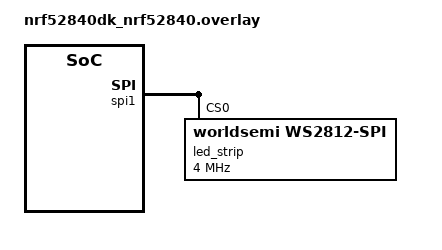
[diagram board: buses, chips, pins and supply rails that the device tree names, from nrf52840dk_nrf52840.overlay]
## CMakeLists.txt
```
# SPDX-License-Identifier: Apache-2.0

cmake_minimum_required(VERSION 3.20.0)
find_package(Zephyr REQUIRED HINTS $ENV{ZEPHYR_BASE})
project(sandbox)

target_sources(app PRIVATE 
    src/main.c 
    src/ui/buttons.c 
    src/ui/keypad.c 
    src/ui/led.c 
    src/ui/pixels.c 
    src/core/timer.c
    src/core/util.c)
```

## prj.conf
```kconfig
CONFIG_PRINTK=y
CONFIG_GPIO=y
CONFIG_LOG=y
# Enable the serial driver in asynchronous mode
CONFIG_SERIAL=y
CONFIG_UART_ASYNC_API=y
# Add configurations to enable timeslicing
CONFIG_TIMESLICING=y
CONFIG_TIMESLICE_SIZE=10
CONFIG_TIMESLICE_PRIORITY=0
CONFIG_THREAD_NAME=y
CONFIG_LOG=y
CONFIG_LED_STRIP=y
CONFIG_LED_STRIP_LOG_LEVEL_DBG=y
CONFIG_WS2812_STRIP=y
CONFIG_SPI=y
CONFIG_FPU=y
CONFIG_MAIN_STACK_SIZE=2048
CONFIG_NEWLIB_LIBC_FLOAT_PRINTF=y
CONFIG_NEWLIB_LIBC=y
```

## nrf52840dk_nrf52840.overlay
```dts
#include <zephyr/dt-bindings/led/led.h>

// Original value 4000000
#define SPI_FREQ   4000000
#define ZERO_FRAME 0x40
#define ONE_FRAME  0x70

&spi1 {// MOSI on D11 / P0.23. MJ: Per mapping it is actually D10 at P1.12
    compatible = "nordic,nrf-spim";
    led_strip: ws2812@0 {
        compatible = "worldsemi,ws2812-spi";

        // SPI
        reg = <0>; // ignored, but necessary for SPI bindings
        spi-max-frequency = <SPI_FREQ>;

        // WS2812
        chain-length = <8>; // arbitrary; change at will
        color-mapping = <LED_COLOR_ID_GREEN
        LED_COLOR_ID_RED
        LED_COLOR_ID_BLUE>;
        spi-one-frame = <ONE_FRAME>;
        spi-zero-frame = <ZERO_FRAME>;
    };
};

/ {
    aliases {
        led-strip = &led_strip;
    };
};
```

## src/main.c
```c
#include "ui/buttons.h"
#include "ui/keypad.h"
#include "ui/led.h"

// just for fun - using message queue to pass button presses 1-3
// from UART to led 1-3
// led 0 is used by a heartbeat thread in led

#define QUEUE_SIZE 16
#define DATA_LEN 1
#define DATA_ALIGN 1

extern void run_timer(void);
// our message queue
K_MSGQ_DEFINE(queue, DATA_LEN, QUEUE_SIZE, DATA_ALIGN);

keypad keyp;

int work();
int main();
int init();

// main thread
int main(void) {
    printk("main 1.4.19a starts\n");
    if (init()) {
        printk("init failed\n");
        return 1;
    }
    run_timer();
    //  main loop
    while (1) {
        k_yield();
        work();
    }
}

int init() {
    // if (buttons_init(NULL)) {
    //     printk("keypad_init failed");
    //     return 1;
    // }

    if (keypad_init(&keyp)) {
        printk("keypad_init failed");
        return 1;
    }
    if (led_init()) {
        printk("led_init failed");
        return 1;
    }
    return 0;
}

int work() {
    uint8_t idx;
    //  Read all keypad codes from the queue
    while (k_msgq_num_used_get(&queue)) {
        k_msgq_get(&queue, &idx, K_NO_WAIT);
        idx = idx - 48;
        // we handle only 1,2,3
        if (idx > 0 && idx < 4) {
            led_toggle(idx);
        }
        k_yield();
        k_msleep(10);
    }
    k_msleep(20);
    return 0;
}
```

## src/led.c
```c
#include "led.h"

#include <zephyr/device.h>
#include <zephyr/devicetree.h>
#include <zephyr/drivers/gpio.h>
#include <zephyr/kernel.h>
#include <zephyr/sys/printk.h>

#define THREAD_STACK_SIZE 1024

struct leds {
    struct gpio_dt_spec led;
    int value;
} _leds[4] = {
    {GPIO_DT_SPEC_GET(DT_ALIAS(led0), gpios), 0},
    {GPIO_DT_SPEC_GET(DT_ALIAS(led1), gpios), 0},
    {GPIO_DT_SPEC_GET(DT_ALIAS(led2), gpios), 0},
    {GPIO_DT_SPEC_GET(DT_ALIAS(led3), gpios), 0}};

void heartbeat_thread(void *d0, void *d1, void *d2) {
    while (1) {
        k_yield();
        led_toggle(0);
        k_msleep(1000);
        // printk("heartbeat\n");
    }
}

// initialize 4 leds 0-3
int led_init() {
    for (int i = 0; i < 4; i++) {
        if (!device_is_ready((_leds[i].led.port))) {
            return 1;
        }
        if (gpio_pin_configure_dt(&_leds[i].led, GPIO_OUTPUT_ACTIVE) < 0) {
            return 1;
        }
        led_toggle(i);
    }
    return 0;
}

int led_toggle(int idx) {
    if (idx < 0 || idx > 3) {
        return 1;
    }
    return gpio_pin_toggle_dt(&_leds[idx].led);
}

K_THREAD_DEFINE(heartbeat_thread_tid, THREAD_STACK_SIZE,
                heartbeat_thread, NULL, NULL, NULL,
                K_LOWEST_APPLICATION_THREAD_PRIO, 0, 0);
```

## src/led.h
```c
#ifndef LEDS_H_
#define LEDS_H_

int led_init();

int led_toggle(int idx);

#endif
```

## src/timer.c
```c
#include <zephyr/kernel.h>
#include <zephyr/sys/printk.h>

#define STACKSIZE 1024

/* scheduling priority used by each thread */
#define PRIORITY 7

/* delay between greetings (in ms) */
#define SLEEPTIME 5000

K_THREAD_STACK_DEFINE(threadA_stack_area, STACKSIZE);
static struct k_thread threadA_data;

/* Defining a timer */
struct k_timer my_timer;
extern void my_expiry_function(struct k_timer *timer_id);

/* threadA is a static thread that is spawned automatically */

uint64_t start_time;

void threadA(void *dummy1, void *dummy2, void *dummy3) {
    ARG_UNUSED(dummy1);
    ARG_UNUSED(dummy2);
    ARG_UNUSED(dummy3);

    printk("thread_a: thread started \n");

    while (1) {
        // printk("thread_a: thread loop \n");
        k_msleep(SLEEPTIME);
    }
}

void my_expiry_function(struct k_timer *timer_id) {
    uint64_t start = start_time;
    int64_t delta = k_uptime_delta(&start);
    //printk(">>>>> timer expired, elapsed time since start: %lld\n", delta);
}

void run_timer(void) {
    start_time = k_uptime_get();
    printk("run_timer start %lld\n", start_time);
    k_thread_create(&threadA_data, threadA_stack_area,
                    K_THREAD_STACK_SIZEOF(threadA_stack_area),
                    threadA, NULL, NULL, NULL,
                    PRIORITY, 0, K_FOREVER);

    k_thread_name_set(&threadA_data, "thread_a");

    k_timer_init(&my_timer, my_expiry_function, NULL);

    k_timer_start(&my_timer, K_MSEC(7000), K_MSEC(2000));

    k_thread_start(&threadA_data);
}
```
